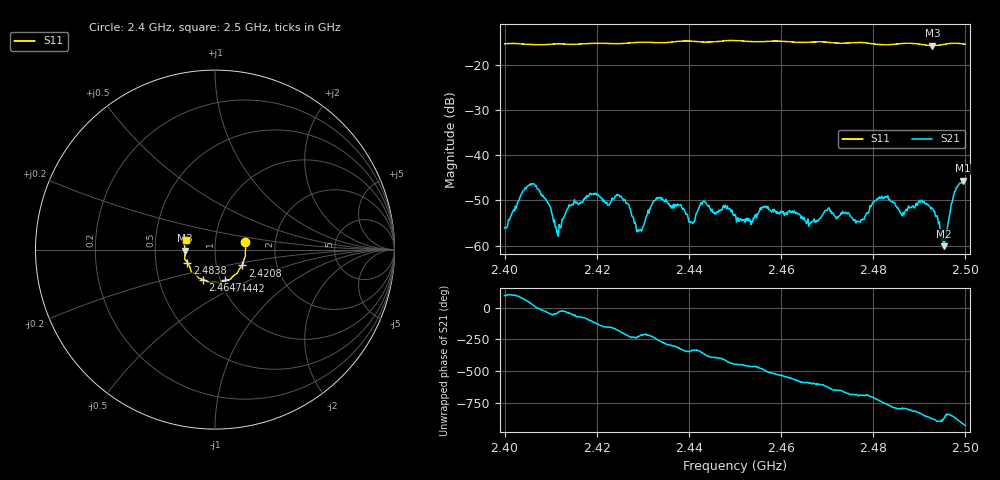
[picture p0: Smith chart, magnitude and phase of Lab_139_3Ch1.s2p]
# Hz S RI R 50
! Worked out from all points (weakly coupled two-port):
!   601 points, 2.4 GHz to 2.5 GHz, reference 50 ohm
!   highest |S21| = -45.60 dB at 2.4995 GHz (marker M1); lowest = -60.1 dB at 2.4953 GHz (marker M2)
!   lowest |S11| = -15.6 dB at 2.4928 GHz (marker M3), VSWR 1.40, Z = 35.8 - j0.393 ohm
!   |S11| at or under -10 dB: start of sweep to end of sweep
!   S12 and S22 are empty: the file has one direction only
!   S11 on the Smith chart (normalised r, x): 2.4 GHz: 1.40, +0.12; 2.4208 GHz: 1.33, -0.24; 2.4442 GHz: 1.05, -0.37; 2.4647 GHz: 0.83, -0.29; 2.4838 GHz: 0.73, -0.11; 2.5 GHz: 0.72, +0.08
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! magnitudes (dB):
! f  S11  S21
! 2.4 GHz  -15.2  -56.1
! 2.4057 GHz  -15.4  -46.3
! 2.4115 GHz  -15.3  -56.8
! 2.4167 GHz  -15.3  -50.4
! 2.4208 GHz  -15.1  -49.4
! 2.4257 GHz  -15.2  -49.6
! 2.4292 GHz  -14.9  -56.8
! 2.4333 GHz  -15.0  -49.4
! 2.4405 GHz  -14.6  -54.7
! 2.4442 GHz  -14.9  -51.3
! 2.45 GHz  -14.5  -53.1
! 2.4647 GHz  -14.9  -53.7
! 2.4667 GHz  -14.8  -54.8
! 2.47 GHz  -14.9  -52.2
! 2.4767 GHz  -14.9  -54.6
! 2.4833 GHz  -15.4  -49.8
! 2.4838 GHz  -15.4  -50.3
! 2.4928 GHz  -15.6  -51.7
! 2.4953 GHz  -15.4  -60.1
! 2.4975 GHz  -15.1  -48.7
! 2.4995 GHz  -15.3  -45.6
! 2.5 GHz  -15.3  -45.7
